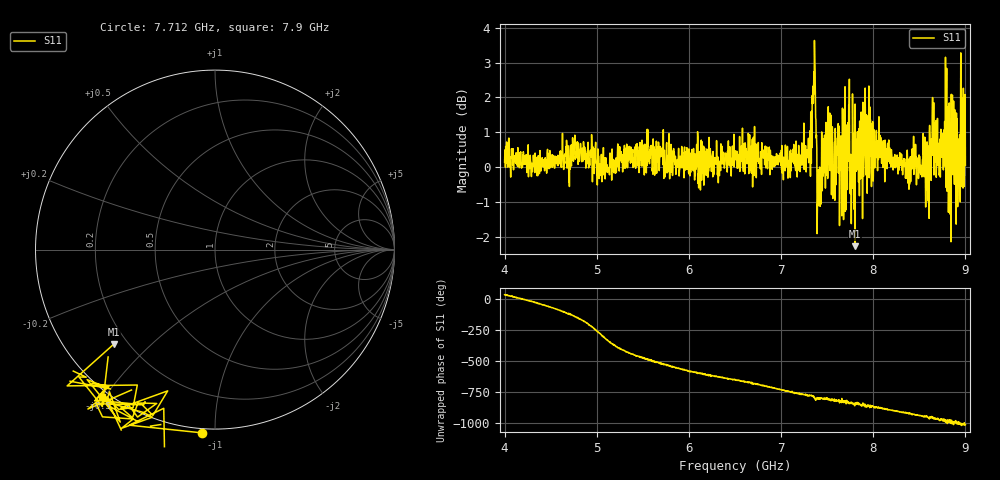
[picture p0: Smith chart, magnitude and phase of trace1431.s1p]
! Created with skrf 1.8.0 (http://scikit-rf.org).
# Hz S RI R 50.0
!freq ReS11 ImS11
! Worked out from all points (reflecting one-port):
!   1601 points, 4 GHz to 9 GHz, reference 50 ohm
!   lowest |S11| = -2.3 dB at 7.8 GHz (marker M1), VSWR 7.72, Z = 7.47 - j19.3 ohm
!   phase of S11 starts at 36 deg and turns -1046 deg over the sweep
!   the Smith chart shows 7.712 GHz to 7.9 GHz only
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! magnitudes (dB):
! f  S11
! 4 GHz  0.1
! 4.625 GHz  0.5
! 4.844 GHz  0.5
! 5.116 GHz  -0.1
! 5.25 GHz  0.6
! 5.875 GHz  0.2
! 6.5 GHz  0.5
! 7.125 GHz  0.4
! 7.294 GHz  0.4
! 7.356 GHz  2.7
! 7.412 GHz  -1.1
! 7.462 GHz  0.1
! 7.509 GHz  0.5
! 7.572 GHz  0.0
! 7.659 GHz  -1.4
! 7.669 GHz  1.0
! 7.75 GHz  -0.8
! 7.775 GHz  2.1
! 7.8 GHz  -2.3
! 7.875 GHz  0.1
! 7.928 GHz  1.0
! 8.375 GHz  0.0
! 8.441 GHz  -0.2
! 8.581 GHz  0.6
! 8.656 GHz  1.9
! 8.919 GHz  -0.5
! 8.972 GHz  0.6
! 9 GHz  0.1
